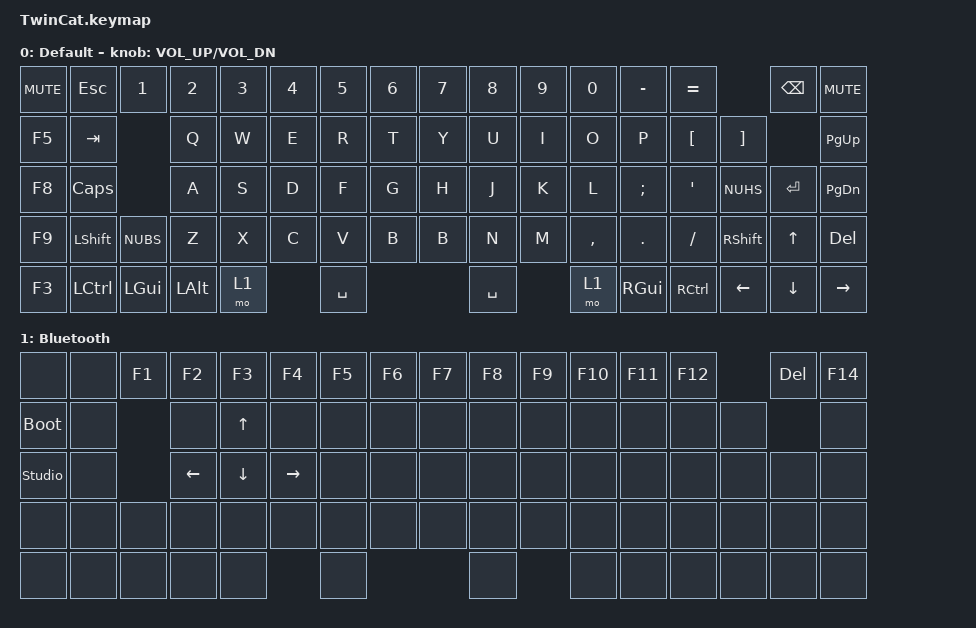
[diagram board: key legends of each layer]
#include <behaviors.dtsi>
#include <dt-bindings/zmk/keys.h>
#include <dt-bindings/zmk/bt.h>

#define DEFAULT 0
#define BLUETOOTH 1

/ {
    keymap {
        compatible = "zmk,keymap";

        default_layer {
            display-name = "Default";
            bindings = <

                &kp C_MUTE  &kp ESC     &kp N1    &kp N2    &kp N3 &kp N4    &kp N5     &kp N6  &kp N7    &kp N8     &kp N9  &kp N0     &kp MINUS &kp EQUAL             &kp BSPC   &kp C_MUTE
                &kp F5      &kp TAB               &kp Q     &kp W  &kp E     &kp R      &kp T   &kp Y     &kp U      &kp I   &kp O      &kp P     &kp LBKT  &kp RBKT               &kp PG_UP
                &kp F8      &kp CAPS              &kp A     &kp S  &kp D     &kp F      &kp G   &kp H     &kp J      &kp K   &kp L      &kp SEMI  &kp SQT   &kp NUHS    &kp ENTER  &kp PG_DN
                &kp F9      &kp LSHIFT  &kp NUBS  &kp Z     &kp X  &kp C     &kp V      &kp B   &kp B     &kp N      &kp M   &kp COMMA  &kp DOT   &kp SLASH &kp RSHIFT  &kp UP     &kp DELETE
                &kp F3      &kp LCTRL   &kp LGUI  &kp LALT  &mo 1            &kp SPACE                    &kp SPACE          &mo 1      &kp RGUI  &kp RCTRL &kp LEFT    &kp DOWN   &kp RIGHT 
            >;
            sensor-bindings = <
                &inc_dec_kp C_VOL_UP C_VOL_DN
            >;
        };

        bt_layer {
            display-name = "Bluetooth";
            bindings = <
                &none           &none        &kp F1  &kp F2   &kp F3   &kp F4    &kp F5 &kp F6 &kp F7  &kp F8    &kp F9      &kp F10  &kp F11    &kp F12                         &kp DELETE  &kp F14
                &bootloader     &none                &none    &kp UP   &none     &none  &none   &none     &none       &none    &none      &none       &none     &none              &none
                &studio_unlock  &none                &kp LEFT &kp DOWN &kp RIGHT &none  &none   &none     &none       &none    &none      &none       &none     &none     &none    &none
                &none           &none        &none   &none    &none    &none     &none  &none   &none     &none       &none    &none      &none       &none     &none     &none    &none
                &none           &none        &none   &none    &none              &none                    &none                &none      &none       &none     &none     &none    &none
            >;
        };

        

        

        

       

    };
};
